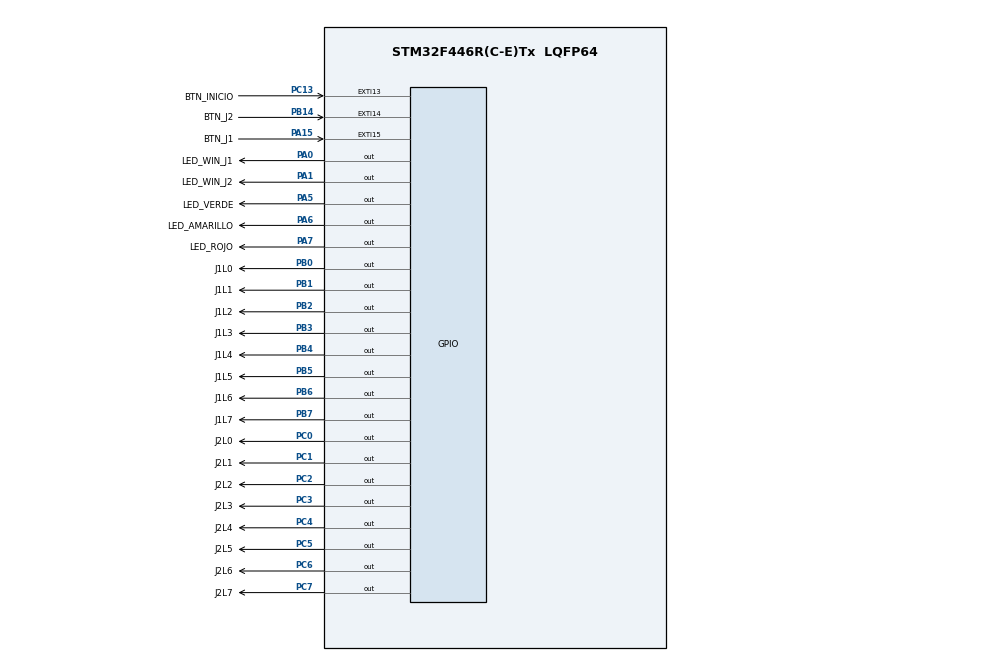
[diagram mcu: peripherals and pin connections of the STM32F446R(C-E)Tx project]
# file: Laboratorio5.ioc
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Mcu.Family=STM32F4
Mcu.Name=STM32F446R(C-E)Tx
Mcu.Package=LQFP64
NVIC.EXTI15_10_IRQn=true\:0\:0\:false\:false\:true\:true\:true\:true
NVIC.PriorityGroup=NVIC_PRIORITYGROUP_4
PA0-WKUP.GPIO_Label=LED_WIN_J1
PA0-WKUP.Signal=GPIO_Output
PA1.GPIO_Label=LED_WIN_J2
PA1.Signal=GPIO_Output
PA13.Mode=Serial_Wire
PA13.Signal=SYS_JTMS-SWDIO
PA14.Mode=Serial_Wire
PA14.Signal=SYS_JTCK-SWCLK
PA15.GPIO_Label=BTN_J1
PA15.GPIO_ModeDefaultEXTI=GPIO_MODE_IT_FALLING
PA15.GPIO_PuPd=GPIO_PULLUP
PA15.Signal=GPXTI15
PA5.GPIO_Label=LED_VERDE
PA5.Signal=GPIO_Output
PA6.GPIO_Label=LED_AMARILLO
PA6.Signal=GPIO_Output
PA7.GPIO_Label=LED_ROJO
PA7.Signal=GPIO_Output
PB0.GPIO_Label=J1L0
PB0.Signal=GPIO_Output
PB1.GPIO_Label=J1L1
PB1.Signal=GPIO_Output
PB14.GPIO_Label=BTN_J2
PB14.GPIO_ModeDefaultEXTI=GPIO_MODE_IT_FALLING
PB14.GPIO_PuPd=GPIO_PULLUP
PB14.Signal=GPXTI14
PB2.GPIO_Label=J1L2
PB2.Signal=GPIO_Output
PB3.GPIO_Label=J1L3
PB3.Signal=GPIO_Output
PB4.GPIO_Label=J1L4
PB4.Signal=GPIO_Output
PB5.GPIO_Label=J1L5
PB5.Signal=GPIO_Output
PB6.GPIO_Label=J1L6
PB6.Signal=GPIO_Output
PB7.GPIO_Label=J1L7
PB7.Signal=GPIO_Output
PC0.GPIO_Label=J2L0
PC0.Signal=GPIO_Output
PC1.GPIO_Label=J2L1
PC1.Signal=GPIO_Output
PC13.GPIO_Label=BTN_INICIO
PC13.GPIO_ModeDefaultEXTI=GPIO_MODE_IT_RISING
PC13.GPIO_PuPd=GPIO_PULLDOWN
PC13.Signal=GPXTI13
PC2.GPIO_Label=J2L2
PC2.Signal=GPIO_Output
PC3.GPIO_Label=J2L3
PC3.Signal=GPIO_Output
PC4.GPIO_Label=J2L4
PC4.Signal=GPIO_Output
PC5.GPIO_Label=J2L5
PC5.Signal=GPIO_Output
PC6.GPIO_Label=J2L6
PC6.Signal=GPIO_Output
PC7.GPIO_Label=J2L7
PC7.Signal=GPIO_Output
ProjectManager.HeapSize=0x200
ProjectManager.StackSize=0x400
ProjectManager.TargetToolchain=STM32CubeIDE
RCC.CortexFreq_Value=16000000
RCC.USBFreq_Value=96000000
RCC.VCOOutputFreq_Value=192000000
board=custom

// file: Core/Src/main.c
/* USER CODE BEGIN Header */
/**
  ******************************************************************************
  * @file           : main.c
  * @brief          : Main program body
  ******************************************************************************
  * @attention
  *
  * Copyright (c) 2025 STMicroelectronics.
  * All rights reserved.
  *
  * This software is licensed under terms that can be found in the LICENSE file
  * in the root directory of this software component.
  * If no LICENSE file comes with this software, it is provided AS-IS.
  *
  ******************************************************************************
  */
/* USER CODE END Header */
#include "main.h"
#include "gpio.h"

/* USER CODE BEGIN PV */

//***************************************************************
//Universidad del Valle de Guatemala
//Electrónica Digital 2
//Autor: Héctor Alejandro Martínez Guerra
//Hardware: STM32
//LAB5
//***************************************************************
//***************************************************************

// countdown_busy=1 durante semáforo; ignoras pulsos.
// race_active=0 antes del semáforo y tras ganador; ignoras pulsos.
// game_over=1 al declarar ganador; ignoras pulsos.

volatile uint8_t start_request   = 0;   // Pedir que arranque el semáforo
volatile uint8_t countdown_busy  = 0;	// bloquea durante semáforo (TRUE mientras corre el semáforo)
volatile uint8_t race_active     = 0;	// carrera habilitada tras semáforo (TRUE: se aceptan pulsos de jugadores)
volatile uint8_t game_over       = 0;	// TRUE cuando hay ganador, se bloquea todo

volatile uint32_t btn_last_ms    = 0;	// anti-rebote botón inicio
volatile uint32_t btn1_last_ms   = 0;	// anti-rebote botón J1
volatile uint32_t btn2_last_ms	 = 0;	// anti-rebote botón J2

volatile uint8_t  j1_mask = 0x01, j2_mask = 0x01;	// "posición del LED"
volatile uint8_t  j1_laps = 0,     j2_laps = 0;		// número de vueltas
/* USER CODE END PV */

void SystemClock_Config(void);
/* USER CODE BEGIN PFP */
static void Semaforo_ReadyGo(void);
static void J1_UpdateLeds(uint8_t mask);
static void J2_UpdateLeds(uint8_t mask);
static void Game_Reset(void);
static void DeclareWinner(uint8_t who);	// 1 = J1, 2 = J2
/* USER CODE END PFP */

/* USER CODE BEGIN 0 */

// Escribe mask (bits 0..7) en PB0..PB7
// mask para que solo un bit sea 1 y el resto sea 0
// 0x01 (LED en la posición 0)...0x80 (LED en la posición 7)
static void J1_UpdateLeds(uint8_t mask) { GPIOB->ODR = (GPIOB->ODR & ~0x00FF) | (mask & 0x00FF); }
static void J2_UpdateLeds(uint8_t mask) { GPIOC->ODR = (GPIOC->ODR & ~0x00FF) | (mask & 0x00FF); }

static void Game_Reset(void)
{
  // Apaga indicadores de ganador   b b
  HAL_GPIO_WritePin(LED_WIN_J1_GPIO_Port, LED_WIN_J1_Pin, GPIO_PIN_RESET);
  HAL_GPIO_WritePin(LED_WIN_J2_GPIO_Port, LED_WIN_J2_Pin, GPIO_PIN_RESET);

  // Reinicia posiciones y vueltas
  j1_mask = 0x01; j2_mask = 0x01;
  j1_laps = 0;     j2_laps = 0;

  J1_UpdateLeds(j1_mask);
  J2_UpdateLeds(j2_mask);

  game_over   = 0;	// todavía no hay ganador
  race_active = 0;	// aún no se aceptan pulsos de los jugadores (los pulsos se ignoran)
}

static void DeclareWinner(uint8_t who)
{
  game_over = 1;     // congela la carrera
  race_active = 0;
// Parámetro who = 1; si el ganador es el J1. Who = 2; ganador es el J2.
// según el valor (jugador que gana) enciende el LED ganador
  if (who == 1) {
    HAL_GPIO_WritePin(LED_WIN_J1_GPIO_Port, LED_WIN_J1_Pin, GPIO_PIN_SET);
  } else {
    HAL_GPIO_WritePin(LED_WIN_J2_GPIO_Port, LED_WIN_J2_Pin, GPIO_PIN_SET);
  }
}

// Función de semáforo
static void Semaforo_ReadyGo(void)
{
  countdown_busy = 1;	// bloquea callbacks mientras corre la secuencia

  // Rojo
  HAL_GPIO_WritePin(LED_ROJO_GPIO_Port, LED_ROJO_Pin, GPIO_PIN_SET);
  HAL_GPIO_WritePin(LED_AMARILLO_GPIO_Port, LED_AMARILLO_Pin, GPIO_PIN_RESET);
  HAL_GPIO_WritePin(LED_VERDE_GPIO_Port, LED_VERDE_Pin, GPIO_PIN_RESET);
  HAL_Delay(1000);

  // Amarillo
  HAL_GPIO_WritePin(LED_ROJO_GPIO_Port, LED_ROJO_Pin, GPIO_PIN_RESET);
  HAL_GPIO_WritePin(LED_AMARILLO_GPIO_Port, LED_AMARILLO_Pin, GPIO_PIN_SET);
  HAL_Delay(1000);

  // Verde
  HAL_GPIO_WritePin(LED_AMARILLO_GPIO_Port, LED_AMARILLO_Pin, GPIO_PIN_RESET);
  HAL_GPIO_WritePin(LED_VERDE_GPIO_Port, LED_VERDE_Pin, GPIO_PIN_SET);
  HAL_Delay(1000);

  // Limpia
  HAL_GPIO_WritePin(LED_VERDE_GPIO_Port, LED_VERDE_Pin, GPIO_PIN_RESET);

  countdown_busy = 0;	// habilita los callbacks
}
/* USER CODE END 0 */

int main(void)
{

  /* MCU Configuration--------------------------------------------------------*/

  /* Reset of all peripheralsvuuvvvvvvvvvvvvvvvvvvvvvv666 c6               c, Initializes the Flash interface and the Systick. */
  HAL_Init();

  /* Configure the system clock */
  SystemClock_Config();

  /* Initialize all configured peripherals */
  MX_GPIO_Init();
  /* USER CODE BEGIN 2 */

  // Deja el juego en estado conocido, enciende la primera posición de cada pista de carrera
  J1_UpdateLeds(j1_mask);
  J2_UpdateLeds(j2_mask);
  /* USER CODE END 2 */

  /* Infinite loop */
  while (1)
  {

    /* USER CODE BEGIN 3 */
	  // Lanzar carrera con semáforo
	  // el botón de inicio (PC13) en el callback pone start_request = 1, para ejecutar el semáforo...
	  // ...seguido del juego

	  if (start_request && !countdown_busy) {
	    start_request = 0;
	    Game_Reset();           // limpia ANTES del semáforo, se "reinicia" posiciones y vueltas
		Semaforo_ReadyGo();     // corre Rojo→Amarillo→Verde (bloquea con countdown_busy)
		race_active = 1;        // carrera habilitada, se aceptan pulsos
	  }

  }
  /* USER CODE END 3 */
}

void SystemClock_Config(void)
{
  RCC_OscInitTypeDef RCC_OscInitStruct = {0};
  RCC_ClkInitTypeDef RCC_ClkInitStruct = {0};

  /** Configure the main internal regulator output voltage
  */
  __HAL_RCC_PWR_CLK_ENABLE();
  __HAL_PWR_VOLTAGESCALING_CONFIG(PWR_REGULATOR_VOLTAGE_SCALE3);

  /** Initializes the RCC Oscillators according to the specified parameters
  * in the RCC_OscInitTypeDef structure.
  */
  RCC_OscInitStruct.OscillatorType = RCC_OSCILLATORTYPE_HSI;
  RCC_OscInitStruct.HSIState = RCC_HSI_ON;
  RCC_OscInitStruct.HSICalibrationValue = RCC_HSICALIBRATION_DEFAULT;
  RCC_OscInitStruct.PLL.PLLState = RCC_PLL_NONE;
  if (HAL_RCC_OscConfig(&RCC_OscInitStruct) != HAL_OK)
  {
    Error_Handler();
  }

  /** Initializes the CPU, AHB and APB buses clocks
  */
  RCC_ClkInitStruct.ClockType = RCC_CLOCKTYPE_HCLK|RCC_CLOCKTYPE_SYSCLK
                              |RCC_CLOCKTYPE_PCLK1|RCC_CLOCKTYPE_PCLK2;
  RCC_ClkInitStruct.SYSCLKSource = RCC_SYSCLKSOURCE_HSI;
  RCC_ClkInitStruct.AHBCLKDivider = RCC_SYSCLK_DIV1;
  RCC_ClkInitStruct.APB1CLKDivider = RCC_HCLK_DIV1;
  RCC_ClkInitStruct.APB2CLKDivider = RCC_HCLK_DIV1;

  if (HAL_RCC_ClockConfig(&RCC_ClkInitStruct, FLASH_LATENCY_0) != HAL_OK)
  {
    Error_Handler();
  }
}

/* USER CODE BEGIN 4 */
void HAL_GPIO_EXTI_Callback(uint16_t GPIO_Pin)
{
  uint32_t now = HAL_GetTick();

  // Inicio (PC13)
  if (GPIO_Pin == BTN_INICIO_Pin) {	// PC13 (RISING, pull-down), btn_last_ms es la marca de tiempo del último pulso
    if ((now - btn_last_ms) > 200 && !countdown_busy) {	// asegura que hayan pasado al menos 200 ms desde la última vez
      // countdown_busy asegura que no se pueda reiniciar el semáforo, mientras este en secuencia.
    	start_request = 1;	// no arranca el semáforo aquí, solo levanta la bandera, el while activa el semáfor con la bandera
      btn_last_ms = now;	// guarda el tiempo de esta pulsación para el próximo chequeo
    }
  }

  // Jugador 1 (PA15)
  if (GPIO_Pin == BTN_J1_Pin) {	// PA15 (FALLING, pull-up)
    if ((now - btn1_last_ms) > 250) {
      btn1_last_ms = now;	// guarda el tiempo de esta pulsación para el próximo chequeo
      // cumplen las condiciones?...si se cumplen todas las condiciones, el jugador puede avanzar
      // ...race_active = 1; la carrera ya empezó.
      // ...!countdown_busy; no esta en el semáforo.
      // ...!game_over; no hay ganador aún.
      if (race_active && !countdown_busy && !game_over) {
    	  // Si j1_mask == 0x80 (último LED de la pista): se reinicia a 0x01 (primer LED) y aumenta cont de vueltas (j1_laps)
        if (j1_mask == 0x80) {j1_mask = 0x01; j1_laps++; } else { j1_mask <<= 1; }
        J1_UpdateLeds(j1_mask);	// Escribe el nuevo estado, asegura que se encienda un LED y el indicado.
        if (j1_laps >= 3) { DeclareWinner(1); }	// Si j1_laps >= 3, el jugador gana, enciende LED ganador y congela el juego.
        // ...game_over=1, race_active=0
      }
    }
  }

// 0x01 = 0000 0001 = PB0
// 0x02 = 0000 0010 = PB1
// 0x04 = 0000 0100 = PB2
// 0x08 = 0000 1000 = PB3
// 0x10 = 0001 0000 = PB4
// 0x20 = 0010 0000 = PB5
// 0x40 = 0100 0000 = PB6
// 0x80 = 1000 0000 = PB7

  // Jugador 2 (PB15) (misma lógica que el jugador1...)
  if (GPIO_Pin == BTN_J2_Pin) {	// PB14 (FALLING, pull-up)
    if ((now - btn2_last_ms) > 250) {
      btn2_last_ms = now;
      if (race_active && !countdown_busy && !game_over) {
        if (j2_mask == 0x80) { j2_mask = 0x01; j2_laps++; } else { j2_mask <<= 1; }
        J2_UpdateLeds(j2_mask);
        if (j2_laps >= 3) { DeclareWinner(2); }
      }
    }
  }
}

/* USER CODE END 4 */

void Error_Handler(void)
{
  __disable_irq();
  while (1)
  {
  }
}
